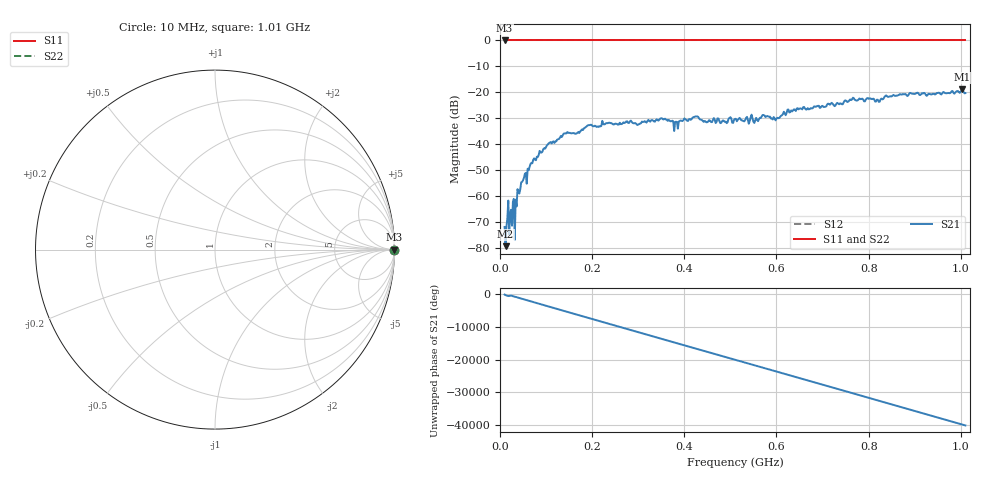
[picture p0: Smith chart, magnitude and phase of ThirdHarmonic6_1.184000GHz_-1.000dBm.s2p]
! 8/16/2025 12:07:12 PM
! C:\ANRITSUVNA\TEMP\TEMP.S2P
! CHANNEL.1
! TR.MEASUREMENT
! RAW.DATA
! RF.CORRECTION.OFF
! AVERAGING.OFF
! IF.BANDWIDTH: 5KHZ
! SWEEPTYPE:  FREQ.SWEEP(Linear)
! Reference Plane Port Info
! PORT:  PORT1  PORT2
! DISTANCE:  0  m  0  m
! TIME:  0  s  0  s
! PHASE.OFFSET:  0  deg.  0  deg.
! LOSS:  0  dB  0  dB
! REF.LOSS:  0  dB  0  dB
! REF.FREQ:  0  Hz  0  Hz
! Power Info
! POWER:  -20  dBm  -20  dBm
! EFF.POWER:  -20  dBm  -20  dBm
! SOURCE.ATTEN:  0  dB  0  dB
! TEST.ATTEN:  0  dB  0  dB
# GHZ S RI R 50.0
! FREQ.GHZ  S11RE  S11IM  S21RE  S21IM  S12RE  S12IM  S22RE  S22IM
!; PortSelection: Port_12
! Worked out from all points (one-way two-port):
!   501 points, 10 MHz to 1.01 GHz, reference 50 ohm
!   highest |S21| = -18.92 dB at 1.002 GHz (marker M1); lowest = -79.4 dB at 12 MHz (marker M2)
!   lowest |S11| = 0.0 dB at 10 MHz (marker M3)
!   |S11| at or under -10 dB: nowhere
!   |S22| runs from 0.0 to 0.0 dB; largest |S21 - S12| = 1.1
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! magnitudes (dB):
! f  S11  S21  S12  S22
! 10 MHz  0.0  -71.9  0.0  0.0
! 12 MHz  0.0  -79.4  0.0  0.0
! 20 MHz  0.0  -74.9  0.0  0.0
! 24 MHz  0.0  -65.3  0.0  0.0
! 26 MHz  0.0  -71.5  0.0  0.0
! 28 MHz  0.0  -62.4  0.0  0.0
! 36 MHz  0.0  -64.0  0.0  0.0
! 38 MHz  0.0  -57.4  0.0  0.0
! 50 MHz  0.0  -53.9  0.0  0.0
! 70 MHz  0.0  -47.4  0.0  0.0
! 106 MHz  0.0  -39.6  0.0  0.0
! 178 MHz  0.0  -34.3  0.0  0.0
! 344 MHz  0.0  -30.9  0.0  0.0
! 382 MHz  0.0  -31.4  0.0  0.0
! 424 MHz  0.0  -29.3  0.0  0.0
! 446 MHz  0.0  -31.3  0.0  0.0
! 510 MHz  0.0  -30.3  0.0  0.0
! 602 MHz  0.0  -29.8  0.0  0.0
! 678 MHz  0.0  -26.2  0.0  0.0
! 844 MHz  0.0  -21.7  0.0  0.0
! 1.002 GHz  0.0  -18.9  0.0  0.0
! 1.01 GHz  0.0  -20.3  0.0  0.0
